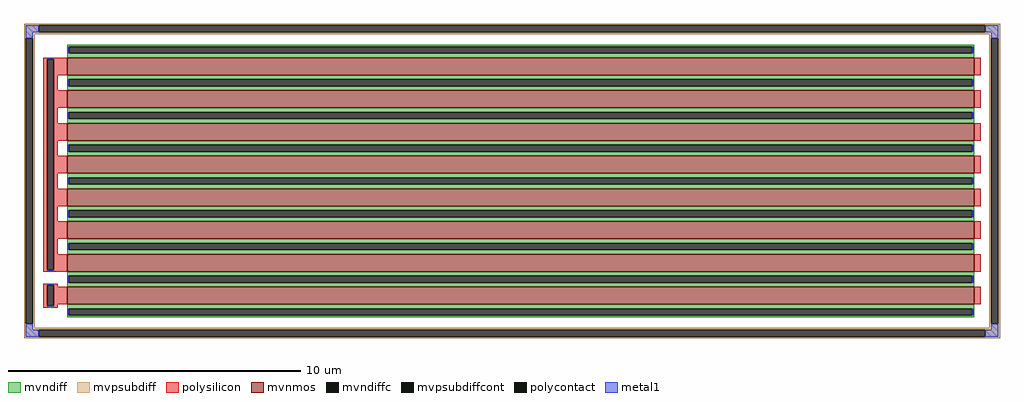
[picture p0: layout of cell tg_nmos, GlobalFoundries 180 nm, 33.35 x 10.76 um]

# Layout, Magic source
magic
tech gf180mcuD
magscale 1 10
<< mvnmos >>
rect 294 1800 6494 1920
rect 294 1576 6494 1696
rect 294 1352 6494 1472
rect 294 1128 6494 1248
rect 294 904 6494 1024
rect 294 680 6494 800
rect 294 456 6494 576
rect 294 232 6494 352
<< mvndiff >>
rect 294 1995 6494 2008
rect 294 1949 309 1995
rect 6479 1949 6494 1995
rect 294 1920 6494 1949
rect 294 1771 6494 1800
rect 294 1725 307 1771
rect 6481 1725 6494 1771
rect 294 1696 6494 1725
rect 294 1547 6494 1576
rect 294 1501 307 1547
rect 6481 1501 6494 1547
rect 294 1472 6494 1501
rect 294 1323 6494 1352
rect 294 1277 307 1323
rect 6481 1277 6494 1323
rect 294 1248 6494 1277
rect 294 1099 6494 1128
rect 294 1053 307 1099
rect 6481 1053 6494 1099
rect 294 1024 6494 1053
rect 294 875 6494 904
rect 294 829 307 875
rect 6481 829 6494 875
rect 294 800 6494 829
rect 294 651 6494 680
rect 294 605 307 651
rect 6481 605 6494 651
rect 294 576 6494 605
rect 294 427 6494 456
rect 294 381 307 427
rect 6481 381 6494 427
rect 294 352 6494 381
rect 294 203 6494 232
rect 294 157 307 203
rect 6481 157 6494 203
rect 294 144 6494 157
<< mvndiffc >>
rect 309 1949 6479 1995
rect 307 1725 6481 1771
rect 307 1501 6481 1547
rect 307 1277 6481 1323
rect 307 1053 6481 1099
rect 307 829 6481 875
rect 307 605 6481 651
rect 307 381 6481 427
rect 307 157 6481 203
<< mvpsubdiff >>
rect 0 2139 6670 2152
rect 0 2093 102 2139
rect 6568 2093 6670 2139
rect 0 2080 6670 2093
rect 0 2050 72 2080
rect 0 102 13 2050
rect 59 102 72 2050
rect 6598 2050 6670 2080
rect 0 72 72 102
rect 6598 102 6611 2050
rect 6657 102 6670 2050
rect 6598 72 6670 102
rect 0 59 6670 72
rect 0 13 102 59
rect 6568 13 6670 59
rect 0 0 6670 13
<< mvpsubdiffcont >>
rect 102 2093 6568 2139
rect 13 102 59 2050
rect 6611 102 6657 2050
rect 102 13 6568 59
<< polysilicon >>
rect 132 1907 294 1920
rect 132 469 159 1907
rect 205 1800 294 1907
rect 6494 1800 6538 1920
rect 205 1696 232 1800
rect 205 1576 294 1696
rect 6494 1576 6538 1696
rect 205 1472 232 1576
rect 205 1352 294 1472
rect 6494 1352 6538 1472
rect 205 1248 232 1352
rect 205 1128 294 1248
rect 6494 1128 6538 1248
rect 205 1024 232 1128
rect 205 904 294 1024
rect 6494 904 6538 1024
rect 205 800 232 904
rect 205 680 294 800
rect 6494 680 6538 800
rect 205 576 232 680
rect 205 469 294 576
rect 132 456 294 469
rect 6494 456 6538 576
rect 132 362 232 375
rect 132 222 159 362
rect 205 352 232 362
rect 205 232 294 352
rect 6494 232 6538 352
rect 205 222 232 232
rect 132 209 232 222
<< polycontact >>
rect 159 469 205 1907
rect 159 222 205 362
<< metal1 >>
rect 13 2093 102 2139
rect 6568 2093 6657 2139
rect 13 2050 59 2093
rect 6611 2050 6657 2093
rect 298 1949 309 1995
rect 6479 1949 6490 1995
rect 159 1907 205 1918
rect 296 1725 307 1771
rect 6481 1725 6492 1771
rect 296 1501 307 1547
rect 6481 1501 6492 1547
rect 296 1277 307 1323
rect 6481 1277 6492 1323
rect 296 1053 307 1099
rect 6481 1053 6492 1099
rect 296 829 307 875
rect 6481 829 6492 875
rect 296 605 307 651
rect 6481 605 6492 651
rect 159 458 205 469
rect 296 381 307 427
rect 6481 381 6492 427
rect 159 362 205 373
rect 159 211 205 222
rect 296 157 307 203
rect 6481 157 6492 203
rect 13 59 59 102
rect 6611 59 6657 102
rect 13 13 102 59
rect 6568 13 6657 59
<< properties >>
string FIXED_BBOX 0 0 6670 2152
<< end >>
